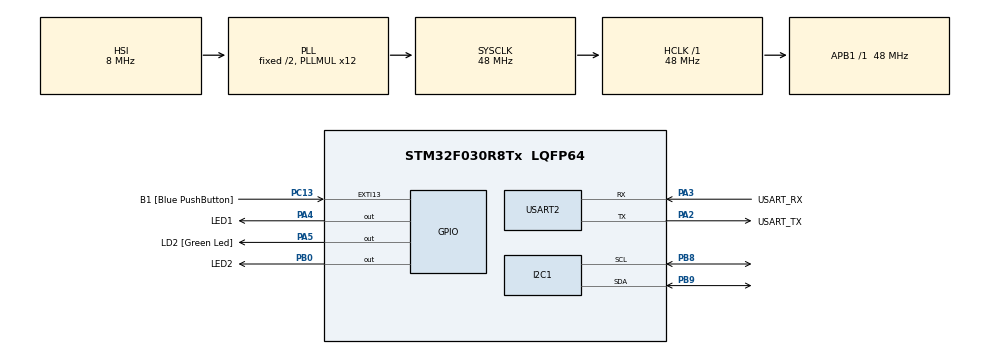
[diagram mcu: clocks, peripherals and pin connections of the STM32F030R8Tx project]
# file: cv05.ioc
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Dma.Request0=USART2_RX
Dma.USART2_RX.0.Direction=DMA_PERIPH_TO_MEMORY
Dma.USART2_RX.0.Instance=DMA1_Channel5
Dma.USART2_RX.0.MemDataAlignment=DMA_MDATAALIGN_BYTE
Dma.USART2_RX.0.MemInc=DMA_MINC_ENABLE
Dma.USART2_RX.0.Mode=DMA_CIRCULAR
Dma.USART2_RX.0.PeriphDataAlignment=DMA_PDATAALIGN_BYTE
Dma.USART2_RX.0.PeriphInc=DMA_PINC_DISABLE
Dma.USART2_RX.0.Priority=DMA_PRIORITY_LOW
Mcu.Family=STM32F0
Mcu.Name=STM32F030R8Tx
Mcu.Package=LQFP64
NVIC.DMA1_Channel4_5_IRQn=true\:0\:0\:false\:false\:true\:false\:true
PA13.GPIO_Label=TMS
PA13.Mode=Serial_Wire
PA13.Signal=SYS_SWDIO
PA14.GPIO_Label=TCK
PA14.Mode=Serial_Wire
PA14.Signal=SYS_SWCLK
PA2.GPIO_Label=USART_TX
PA2.GPIO_Mode=GPIO_MODE_AF_PP
PA2.GPIO_PuPd=GPIO_NOPULL
PA2.GPIO_Speed=GPIO_SPEED_FREQ_LOW
PA2.Mode=Asynchronous
PA2.Signal=USART2_TX
PA3.GPIO_Label=USART_RX
PA3.GPIO_Mode=GPIO_MODE_AF_PP
PA3.GPIO_PuPd=GPIO_NOPULL
PA3.GPIO_Speed=GPIO_SPEED_FREQ_LOW
PA3.Mode=Asynchronous
PA3.Signal=USART2_RX
PA4.GPIO_Label=LED1
PA4.Signal=GPIO_Output
PA5.GPIO_Label=LD2 [Green Led]
PA5.GPIO_Mode=GPIO_MODE_OUTPUT_PP
PA5.GPIO_PuPd=GPIO_NOPULL
PA5.GPIO_Speed=GPIO_SPEED_FREQ_LOW
PA5.Signal=GPIO_Output
PB0.GPIO_Label=LED2
PB0.Signal=GPIO_Output
PB8.Mode=I2C
PB8.Signal=I2C1_SCL
PB9.Mode=I2C
PB9.Signal=I2C1_SDA
PC13.GPIO_Label=B1 [Blue PushButton]
PC13.GPIO_ModeDefaultEXTI=GPIO_MODE_IT_FALLING
PC13.Signal=GPXTI13
PC14-OSC32_IN.Mode=LSE-External-Oscillator
PC14-OSC32_IN.Signal=RCC_OSC32_IN
PC15-OSC32_OUT.Mode=LSE-External-Oscillator
PC15-OSC32_OUT.Signal=RCC_OSC32_OUT
PF0-OSC_IN.Mode=HSE-External-Clock-Source
PF0-OSC_IN.Signal=RCC_OSC_IN
PF1-OSC_OUT.Signal=RCC_OSC_OUT
ProjectManager.HeapSize=0x200
ProjectManager.StackSize=0x400
ProjectManager.TargetToolchain=STM32CubeIDE
RCC.AHBFreq_Value=48000000
RCC.APB1Freq_Value=48000000
RCC.APB1TimFreq_Value=48000000
RCC.HCLKFreq_Value=48000000
RCC.PLLMUL=RCC_PLL_MUL12
RCC.SYSCLKFreq_VALUE=48000000
RCC.SYSCLKSource=RCC_SYSCLKSOURCE_PLLCLK
USART2.VirtualMode-Asynchronous=VM_ASYNC
board=NUCLEO-F030R8

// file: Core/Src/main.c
/* USER CODE BEGIN Header */
/**
  ******************************************************************************
  * @file           : main.c
  * @brief          : Main program body
  ******************************************************************************
  * @attention
  *
  * <h2><center>&copy; Copyright (c) 2021 STMicroelectronics.
  * All rights reserved.</center></h2>
  *
  * This software component is licensed by ST under BSD 3-Clause license,
  * the "License"; You may not use this file except in compliance with the
  * License. You may obtain a copy of the License at:
  *                        opensource.org/licenses/BSD-3-Clause
  *
  ******************************************************************************
  */
/* USER CODE END Header */
#include "main.h"

/* USER CODE BEGIN Includes */
#include "stdio.h"
#include "string.h"
#include "stdlib.h"

/* USER CODE END Includes */

/* USER CODE BEGIN PD */
#define RX_BUFFER_LEN 64
#define CMD_BUFFER_LEN 256
static uint8_t uart_rx_buf[RX_BUFFER_LEN];
static volatile uint16_t uart_rx_read_ptr = 0;
#define uart_rx_write_ptr (RX_BUFFER_LEN - hdma_usart2_rx.Instance->CNDTR)
#define EEPROM_ADDR 0xA0
/* USER CODE END PD */

I2C_HandleTypeDef hi2c1;

UART_HandleTypeDef huart2;
DMA_HandleTypeDef hdma_usart2_rx;

void SystemClock_Config(void);
static void MX_GPIO_Init(void);
static void MX_DMA_Init(void);
static void MX_USART2_UART_Init(void);
static void MX_I2C1_Init(void);

/* USER CODE BEGIN 0 */
uint8_t c;

int _write(int file, char const *buf, int n)
{
 /* stdout redirection to UART2 */
 HAL_UART_Transmit(&huart2, (uint8_t*)(buf), n, HAL_MAX_DELAY);
 return n;
}

uint8_t value;
uint16_t addr;

static void uart_process_command(char *cmd)
{
	printf("prijato: '%s'\n", cmd);

	char *token;
	token = strtok(cmd, " ");
	if (strcasecmp(token, "HELLO") == 0) {
		printf("Komunikace OK\n");
	}
	else if (strcasecmp(token, "LED1") == 0) {
		token = strtok(NULL, " ");
		if (strcasecmp(token, "ON") == 0){
			HAL_GPIO_WritePin(LED1_GPIO_Port,LED1_Pin,GPIO_PIN_SET);
			printf("LED1 ON\n");
		}
		else if (strcasecmp(token, "OFF")==0){
			HAL_GPIO_WritePin(LED1_GPIO_Port,LED1_Pin,GPIO_PIN_RESET);
			printf("LED1 OFF\n");
		}
	}
	else if (strcasecmp(token, "LED2") == 0){
		token = strtok(NULL, " ");
		if (strcasecmp(token, "ON") == 0){
			HAL_GPIO_WritePin(LED2_GPIO_Port,LED2_Pin,GPIO_PIN_SET);
			printf("LED2 ON\n");
		}
		else if (strcasecmp(token, "OFF")==0){
			HAL_GPIO_WritePin(LED2_GPIO_Port,LED2_Pin,GPIO_PIN_RESET);
			printf("LED2 OFF\n");
		}
	}
	else if (strcasecmp(token, "STATUS")==0){
		token = strtok(NULL, " ");
		if (strcasecmp(token, "LED1") == 0){
			if (HAL_GPIO_ReadPin(LED1_GPIO_Port,LED1_Pin)){
				printf("LED1 ON\n");
			}
			else {
				printf("LED1 OFF\n");
			}
		}
		else if (strcasecmp(token, "LED2") == 0){
			if (HAL_GPIO_ReadPin(LED2_GPIO_Port,LED2_Pin)){
				printf("LED2 ON\n");
			}
			else {
				printf("LED2 OFF\n");
				}
			}
	}
	if (strcasecmp(token, "READ") == 0) {
		token = strtok(NULL, " ");
		addr=atoi(token);
		printf(token);
		HAL_I2C_Mem_Read(&hi2c1, EEPROM_ADDR, addr, I2C_MEMADD_SIZE_16BIT, &value, 1, 1000);
		printf("adresa: 0x%04x ", addr);
		printf("= 0x%02x\n", value);
	}
	if (strcasecmp(token, "WRITE") == 0) {
		token = strtok(NULL, " ");
		addr=atoi(token);
		token = strtok(NULL, " ");
		value=atoi(token);
		printf("%s",token);
		HAL_I2C_Mem_Write(&hi2c1, EEPROM_ADDR, addr, I2C_MEMADD_SIZE_16BIT, &value, 1, 1000);
		printf("adresa: 0x%04x ", addr);
		printf("= 0x'%02x'\n", value);
	}

	printf("OK\n");

}

static void uart_byte_available(uint8_t c)
{
	static uint16_t cnt;
	static char data[CMD_BUFFER_LEN];
	if (cnt < CMD_BUFFER_LEN && c >= 32 && c <= 126) data[cnt++] = c;
	if ((c == '\n' || c == '\r') && cnt > 0) {
		data[cnt] = '\0';
		uart_process_command(data);
		cnt = 0;
	}
}

/* USER CODE END 0 */

int main(void)
{

  /* MCU Configuration--------------------------------------------------------*/

  /* Reset of all peripherals, Initializes the Flash interface and the Systick. */
  HAL_Init();

  /* Configure the system clock */
  SystemClock_Config();

  /* Initialize all configured peripherals */
  MX_GPIO_Init();
  MX_DMA_Init();
  MX_USART2_UART_Init();
  MX_I2C1_Init();
  /* USER CODE BEGIN 2 */
  HAL_UART_Receive_DMA(&huart2, uart_rx_buf, RX_BUFFER_LEN);
  HAL_I2C_Mem_Read(&hi2c1, EEPROM_ADDR, addr, I2C_MEMADD_SIZE_16BIT, &value, 1, 1000);
  HAL_I2C_Mem_Write(&hi2c1, EEPROM_ADDR, addr, I2C_MEMADD_SIZE_16BIT, &value, 1, 1000);
  /* USER CODE END 2 */

  /* Infinite loop */
  while (1)
  {

    /* USER CODE BEGIN 3 */
	 /* HAL_UART_Receive(&huart2, &c, 1, HAL_MAX_DELAY);
	  HAL_UART_Transmit(&huart2, &c, 1, HAL_MAX_DELAY);*/

	  while (uart_rx_read_ptr != uart_rx_write_ptr) {
		  uint8_t b = uart_rx_buf[uart_rx_read_ptr];
		  if (++uart_rx_read_ptr >= RX_BUFFER_LEN) uart_rx_read_ptr = 0; // increase read pointer
		  uart_byte_available(b); // process every received byte with the RX state machine
	  }

	  /* Check if the EEPROM is ready for a new operation */
	  while (HAL_I2C_IsDeviceReady(&hi2c1, EEPROM_ADDR, 300, 1000) == HAL_TIMEOUT) {}
  }
  /* USER CODE END 3 */
}

void SystemClock_Config(void)
{
  RCC_OscInitTypeDef RCC_OscInitStruct = {0};
  RCC_ClkInitTypeDef RCC_ClkInitStruct = {0};
  RCC_PeriphCLKInitTypeDef PeriphClkInit = {0};

  /** Initializes the RCC Oscillators according to the specified parameters
  * in the RCC_OscInitTypeDef structure.
  */
  RCC_OscInitStruct.OscillatorType = RCC_OSCILLATORTYPE_HSI;
  RCC_OscInitStruct.HSIState = RCC_HSI_ON;
  RCC_OscInitStruct.HSICalibrationValue = RCC_HSICALIBRATION_DEFAULT;
  RCC_OscInitStruct.PLL.PLLState = RCC_PLL_ON;
  RCC_OscInitStruct.PLL.PLLSource = RCC_PLLSOURCE_HSI;
  RCC_OscInitStruct.PLL.PLLMUL = RCC_PLL_MUL12;
  RCC_OscInitStruct.PLL.PREDIV = RCC_PREDIV_DIV1;
  if (HAL_RCC_OscConfig(&RCC_OscInitStruct) != HAL_OK)
  {
    Error_Handler();
  }
  /** Initializes the CPU, AHB and APB buses clocks
  */
  RCC_ClkInitStruct.ClockType = RCC_CLOCKTYPE_HCLK|RCC_CLOCKTYPE_SYSCLK
                              |RCC_CLOCKTYPE_PCLK1;
  RCC_ClkInitStruct.SYSCLKSource = RCC_SYSCLKSOURCE_PLLCLK;
  RCC_ClkInitStruct.AHBCLKDivider = RCC_SYSCLK_DIV1;
  RCC_ClkInitStruct.APB1CLKDivider = RCC_HCLK_DIV1;

  if (HAL_RCC_ClockConfig(&RCC_ClkInitStruct, FLASH_LATENCY_1) != HAL_OK)
  {
    Error_Handler();
  }
  PeriphClkInit.PeriphClockSelection = RCC_PERIPHCLK_I2C1;
  PeriphClkInit.I2c1ClockSelection = RCC_I2C1CLKSOURCE_HSI;
  if (HAL_RCCEx_PeriphCLKConfig(&PeriphClkInit) != HAL_OK)
  {
    Error_Handler();
  }
}

static void MX_I2C1_Init(void)
{

  hi2c1.Instance = I2C1;
  hi2c1.Init.Timing = 0x2000090E;
  hi2c1.Init.OwnAddress1 = 0;
  hi2c1.Init.AddressingMode = I2C_ADDRESSINGMODE_7BIT;
  hi2c1.Init.DualAddressMode = I2C_DUALADDRESS_DISABLE;
  hi2c1.Init.OwnAddress2 = 0;
  hi2c1.Init.OwnAddress2Masks = I2C_OA2_NOMASK;
  hi2c1.Init.GeneralCallMode = I2C_GENERALCALL_DISABLE;
  hi2c1.Init.NoStretchMode = I2C_NOSTRETCH_DISABLE;
  if (HAL_I2C_Init(&hi2c1) != HAL_OK)
  {
    Error_Handler();
  }
  /** Configure Analogue filter
  */
  if (HAL_I2CEx_ConfigAnalogFilter(&hi2c1, I2C_ANALOGFILTER_ENABLE) != HAL_OK)
  {
    Error_Handler();
  }
  /** Configure Digital filter
  */
  if (HAL_I2CEx_ConfigDigitalFilter(&hi2c1, 0) != HAL_OK)
  {
    Error_Handler();
  }

}

static void MX_USART2_UART_Init(void)
{

  huart2.Instance = USART2;
  huart2.Init.BaudRate = 38400;
  huart2.Init.WordLength = UART_WORDLENGTH_8B;
  huart2.Init.StopBits = UART_STOPBITS_1;
  huart2.Init.Parity = UART_PARITY_NONE;
  huart2.Init.Mode = UART_MODE_TX_RX;
  huart2.Init.HwFlowCtl = UART_HWCONTROL_NONE;
  huart2.Init.OverSampling = UART_OVERSAMPLING_16;
  huart2.Init.OneBitSampling = UART_ONE_BIT_SAMPLE_DISABLE;
  huart2.AdvancedInit.AdvFeatureInit = UART_ADVFEATURE_NO_INIT;
  if (HAL_UART_Init(&huart2) != HAL_OK)
  {
    Error_Handler();
  }

}

static void MX_DMA_Init(void)
{

  /* DMA controller clock enable */
  __HAL_RCC_DMA1_CLK_ENABLE();

  /* DMA interrupt init */
  /* DMA1_Channel4_5_IRQn interrupt configuration */
  HAL_NVIC_SetPriority(DMA1_Channel4_5_IRQn, 0, 0);
  HAL_NVIC_EnableIRQ(DMA1_Channel4_5_IRQn);

}

static void MX_GPIO_Init(void)
{
  GPIO_InitTypeDef GPIO_InitStruct = {0};

  /* GPIO Ports Clock Enable */
  __HAL_RCC_GPIOC_CLK_ENABLE();
  __HAL_RCC_GPIOF_CLK_ENABLE();
  __HAL_RCC_GPIOA_CLK_ENABLE();
  __HAL_RCC_GPIOB_CLK_ENABLE();

  /*Configure GPIO pin Output Level */
  HAL_GPIO_WritePin(GPIOA, LED1_Pin|LD2_Pin, GPIO_PIN_RESET);

  /*Configure GPIO pin Output Level */
  HAL_GPIO_WritePin(LED2_GPIO_Port, LED2_Pin, GPIO_PIN_RESET);

  /*Configure GPIO pin : B1_Pin */
  GPIO_InitStruct.Pin = B1_Pin;
  GPIO_InitStruct.Mode = GPIO_MODE_IT_FALLING;
  GPIO_InitStruct.Pull = GPIO_NOPULL;
  HAL_GPIO_Init(B1_GPIO_Port, &GPIO_InitStruct);

  /*Configure GPIO pins : LED1_Pin LD2_Pin */
  GPIO_InitStruct.Pin = LED1_Pin|LD2_Pin;
  GPIO_InitStruct.Mode = GPIO_MODE_OUTPUT_PP;
  GPIO_InitStruct.Pull = GPIO_NOPULL;
  GPIO_InitStruct.Speed = GPIO_SPEED_FREQ_LOW;
  HAL_GPIO_Init(GPIOA, &GPIO_InitStruct);

  /*Configure GPIO pin : LED2_Pin */
  GPIO_InitStruct.Pin = LED2_Pin;
  GPIO_InitStruct.Mode = GPIO_MODE_OUTPUT_PP;
  GPIO_InitStruct.Pull = GPIO_NOPULL;
  GPIO_InitStruct.Speed = GPIO_SPEED_FREQ_LOW;
  HAL_GPIO_Init(LED2_GPIO_Port, &GPIO_InitStruct);

}

void Error_Handler(void)
{
  __disable_irq();
  while (1)
  {
  }
}

/************************ (C) COPYRIGHT STMicroelectronics *****END OF FILE****/
